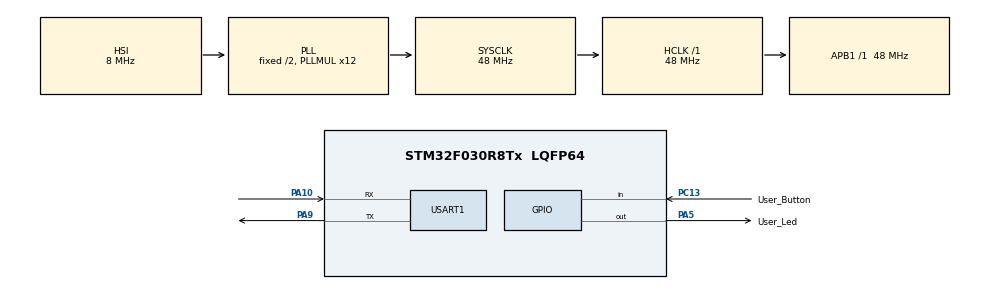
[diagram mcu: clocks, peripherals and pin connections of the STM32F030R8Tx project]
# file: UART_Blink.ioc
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Mcu.Family=STM32F0
Mcu.Name=STM32F030R8Tx
Mcu.Package=LQFP64
NVIC.USART1_IRQn=true\:0\:0\:false\:false\:true\:true\:true\:true
PA10.Mode=Asynchronous
PA10.Signal=USART1_RX
PA13.Mode=Serial_Wire
PA13.Signal=SYS_SWDIO
PA14.Mode=Serial_Wire
PA14.Signal=SYS_SWCLK
PA5.GPIO_Label=User_Led
PA5.GPIO_Speed=GPIO_SPEED_FREQ_MEDIUM
PA5.Signal=GPIO_Output
PA9.Mode=Asynchronous
PA9.Signal=USART1_TX
PC13.GPIO_Label=User_Button
PC13.Signal=GPIO_Input
ProjectManager.HeapSize=0x200
ProjectManager.StackSize=0x400
ProjectManager.TargetToolchain=STM32CubeIDE
RCC.AHBFreq_Value=48000000
RCC.APB1Freq_Value=48000000
RCC.APB1TimFreq_Value=48000000
RCC.HCLKFreq_Value=48000000
RCC.PLLMUL=RCC_PLL_MUL12
RCC.SYSCLKFreq_VALUE=48000000
RCC.SYSCLKSource=RCC_SYSCLKSOURCE_PLLCLK
USART1.VirtualMode-Asynchronous=VM_ASYNC
board=NUCLEO-F030R8

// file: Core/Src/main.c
/* USER CODE BEGIN Header */
/**
 ******************************************************************************
 * @file           : main.c
 * @brief          : Main program body
 ******************************************************************************
 * @attention
 *
 * Copyright (c) 2026 STMicroelectronics.
 * All rights reserved.
 *
 * This software is licensed under terms that can be found in the LICENSE file
 * in the root directory of this software component.
 * If no LICENSE file comes with this software, it is provided AS-IS.
 *
 ******************************************************************************
 */
/* USER CODE END Header */
#include "main.h"

/* USER CODE BEGIN Includes */
#include "string.h"   //bu degisken interrupt modda kullanilacak
#include "stdlib.h"    //atoi fonksiyonunu kullanabilmek icin yazildi
/* USER CODE END Includes */

/* USER CODE BEGIN PD */
#define BUFFER_SIZE 10      //bu degisken interrupt modda kullanilacak
#define LED_ON_COMMAND "on"    //bu degisken interrupt modda kullanilacak
#define LED_OFF_COMMAND "off"       //bu degisken interrupt modda kullanilacak
/* USER CODE END PD */

UART_HandleTypeDef huart1;

/* USER CODE BEGIN PV */
uint8_t rxChar; //bu degisken tek tek karakter almak icin, tek tek gelen karakterler messageBuffer dizisine arka arkaya eklenecek    //bu degisken interrupt modda kullanilacak
char messageBuffer[BUFFER_SIZE]; //bu dizi, alinan karakterleri biriktirmek icin kullanilacak   //bu degisken interrupt modda kullanilacak
uint8_t bufferIndex; //alinan karakterlerin dizideki yerini belirlemek icin kullanilacak  //bu degisken interrupt modda kullanilacak
uint8_t blinkTime = 0;   //girilecek zaman degerini kontrol etmek icin yazildi
uint8_t interruptFlag = 0;
/* USER CODE END PV */

void SystemClock_Config(void);
static void MX_GPIO_Init(void);
static void MX_USART1_UART_Init(void);

int main(void) {

	/* MCU Configuration--------------------------------------------------------*/

	/* Reset of all peripherals, Initializes the Flash interface and the Systick. */
	HAL_Init();

	/* Configure the system clock */
	SystemClock_Config();

	/* Initialize all configured peripherals */
	MX_GPIO_Init();
	MX_USART1_UART_Init();
	/* USER CODE BEGIN 2 */
	HAL_UART_Receive_IT(&huart1, &rxChar, 1); //haberlesmeyi baslatmak icin yazildi
	/* USER CODE END 2 */

	/* Infinite loop */
	while (1) {

		/* USER CODE BEGIN 3 */
		if(interruptFlag){               //interruptFlag 1 olduysa ledi yak sonra bekle sonra interruptFlag 0 yap ve bekle
			HAL_GPIO_WritePin(User_Led_GPIO_Port, User_Led_Pin, 1);
			HAL_Delay(blinkTime * 1000);
			HAL_GPIO_WritePin(User_Led_GPIO_Port, User_Led_Pin, 0);
			interruptFlag=0;
			HAL_Delay(blinkTime * 1000);
		}

	}
	/* USER CODE END 3 */
}

void SystemClock_Config(void) {
	RCC_OscInitTypeDef RCC_OscInitStruct = { 0 };
	RCC_ClkInitTypeDef RCC_ClkInitStruct = { 0 };
	RCC_PeriphCLKInitTypeDef PeriphClkInit = { 0 };

	/** Initializes the RCC Oscillators according to the specified parameters
	 * in the RCC_OscInitTypeDef structure.
	 */
	RCC_OscInitStruct.OscillatorType = RCC_OSCILLATORTYPE_HSI;
	RCC_OscInitStruct.HSIState = RCC_HSI_ON;
	RCC_OscInitStruct.HSICalibrationValue = RCC_HSICALIBRATION_DEFAULT;
	RCC_OscInitStruct.PLL.PLLState = RCC_PLL_ON;
	RCC_OscInitStruct.PLL.PLLSource = RCC_PLLSOURCE_HSI;
	RCC_OscInitStruct.PLL.PLLMUL = RCC_PLL_MUL12;
	RCC_OscInitStruct.PLL.PREDIV = RCC_PREDIV_DIV1;
	if (HAL_RCC_OscConfig(&RCC_OscInitStruct) != HAL_OK) {
		Error_Handler();
	}

	/** Initializes the CPU, AHB and APB buses clocks
	 */
	RCC_ClkInitStruct.ClockType = RCC_CLOCKTYPE_HCLK | RCC_CLOCKTYPE_SYSCLK
			| RCC_CLOCKTYPE_PCLK1;
	RCC_ClkInitStruct.SYSCLKSource = RCC_SYSCLKSOURCE_PLLCLK;
	RCC_ClkInitStruct.AHBCLKDivider = RCC_SYSCLK_DIV1;
	RCC_ClkInitStruct.APB1CLKDivider = RCC_HCLK_DIV1;

	if (HAL_RCC_ClockConfig(&RCC_ClkInitStruct, FLASH_LATENCY_1) != HAL_OK) {
		Error_Handler();
	}
	PeriphClkInit.PeriphClockSelection = RCC_PERIPHCLK_USART1;
	PeriphClkInit.Usart1ClockSelection = RCC_USART1CLKSOURCE_PCLK1;
	if (HAL_RCCEx_PeriphCLKConfig(&PeriphClkInit) != HAL_OK) {
		Error_Handler();
	}
}

static void MX_USART1_UART_Init(void) {

	huart1.Instance = USART1;
	huart1.Init.BaudRate = 38400;
	huart1.Init.WordLength = UART_WORDLENGTH_8B;
	huart1.Init.StopBits = UART_STOPBITS_1;
	huart1.Init.Parity = UART_PARITY_NONE;
	huart1.Init.Mode = UART_MODE_TX_RX;
	huart1.Init.HwFlowCtl = UART_HWCONTROL_NONE;
	huart1.Init.OverSampling = UART_OVERSAMPLING_16;
	huart1.Init.OneBitSampling = UART_ONE_BIT_SAMPLE_DISABLE;
	huart1.AdvancedInit.AdvFeatureInit = UART_ADVFEATURE_NO_INIT;
	if (HAL_UART_Init(&huart1) != HAL_OK) {
		Error_Handler();
	}

}

static void MX_GPIO_Init(void) {
	GPIO_InitTypeDef GPIO_InitStruct = { 0 };

	/* GPIO Ports Clock Enable */
	__HAL_RCC_GPIOC_CLK_ENABLE();
	__HAL_RCC_GPIOA_CLK_ENABLE();

	/*Configure GPIO pin Output Level */
	HAL_GPIO_WritePin(User_Led_GPIO_Port, User_Led_Pin, GPIO_PIN_RESET);

	/*Configure GPIO pin : User_Button_Pin */
	GPIO_InitStruct.Pin = User_Button_Pin;
	GPIO_InitStruct.Mode = GPIO_MODE_INPUT;
	GPIO_InitStruct.Pull = GPIO_NOPULL;
	HAL_GPIO_Init(User_Button_GPIO_Port, &GPIO_InitStruct);

	/*Configure GPIO pin : User_Led_Pin */
	GPIO_InitStruct.Pin = User_Led_Pin;
	GPIO_InitStruct.Mode = GPIO_MODE_OUTPUT_PP;
	GPIO_InitStruct.Pull = GPIO_NOPULL;
	GPIO_InitStruct.Speed = GPIO_SPEED_FREQ_MEDIUM;
	HAL_GPIO_Init(User_Led_GPIO_Port, &GPIO_InitStruct);

}

/* USER CODE BEGIN 4 */
void HAL_UART_RxCpltCallback(UART_HandleTypeDef *huart) {
	if (huart->Instance == USART1) { //hangi UART modulundan geldigini ayirtetmek icin yazildi

		if (bufferIndex < BUFFER_SIZE - 1) { //buffer boyutunun bir eksigi kadar eklemek icin yazildi
			messageBuffer[bufferIndex++] = rxChar; //gelen karakterleri arka arkaya diziye eklemek icin yazildi
			messageBuffer[bufferIndex] = '\0';           //bitis karakteri
		}

		if (strstr(messageBuffer, LED_ON_COMMAND) != NULL) { //gelen karakterler dizisi, on komutuna esit mi kontrol etmek icin yazildi
			HAL_GPIO_WritePin(User_Led_GPIO_Port, User_Led_Pin, 1); //gelen karakter dizisi, on ise ledi yak
			bufferIndex = 0;               //buffer index i sifirla
			memset(messageBuffer, 0, BUFFER_SIZE); //meddageBuffer dizisini buffer size kadar sifirla
		} else if (strstr(messageBuffer, LED_OFF_COMMAND) != NULL) { //gelen karakterler dizisi off komutuna esit mi kontrol etmek icin yazildi
			HAL_GPIO_WritePin(User_Led_GPIO_Port, User_Led_Pin, 0); //gelen karakter dizisi, off ise ledi sondur
			bufferIndex = 0;                //buffer index i sifirla
			memset(messageBuffer, 0, BUFFER_SIZE); //messageBuffer dizisini buffer size kadar sifirla
		} else if (strncmp(messageBuffer, "blink ", 6) == 0) { //gelen karakterler dizisinde 6 karakterlik dizi (blink ) olup olmadigi kontrol edildi
			blinkTime = atoi(&messageBuffer[6]);     //dizinin 6nci indeksindeki elemani integer yapar
			if (blinkTime > 0) {
				interruptFlag = 1;
				bufferIndex = 0;                //buffer index i sifirla
				memset(messageBuffer, 0, BUFFER_SIZE); //messageBuffer dizisini buffer size kadar sifirla
			}

		} else {
			//memset(messageBuffer, 0, BUFFER_SIZE); //messageBuffer dizisini buffer size kadar sifirla
		}
	}

	HAL_UART_Receive_IT(&huart1, &rxChar, 1); //tekrar uart alimini acmak icin yazildi, eger tekrar acilmazsa tek karakteri alip koddan cikar
}
/* USER CODE END 4 */

void Error_Handler(void) {
	__disable_irq();
	while (1) {
	}
}
